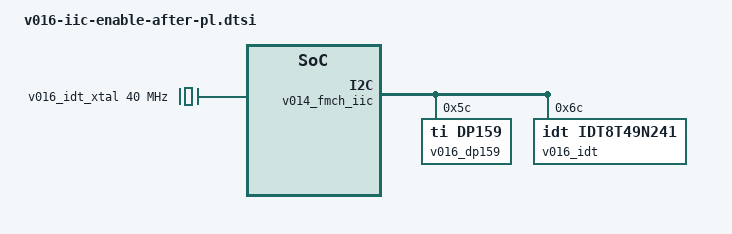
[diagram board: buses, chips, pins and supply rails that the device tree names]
/* Include after v016-hdmi-audited.dtsi ONLY when this exact PL bitstream
 * is loaded before kernel probing. AXI access to absent PL can hang the CPU.
 * Do not use this in a boot where XRT loads the PL later.
 * IDT uses the actual linux-xlnx 2022.2 driver binding, not the newer upstream
 * renesas,8t49n241 binding. Provider probe is not a complete HDMI modeset.
 */
/ {
    v016_idt_xtal: hdmi-idt-xtal {
        compatible = "fixed-clock";
        #clock-cells = <0>;
        clock-frequency = <40000000>;
    };
};
&v014_fmch_iic {
    status = "okay";
    v016_dp159: retimer@5c {
        compatible = "ti,dp159";
        reg = <0x5c>;
        #clock-cells = <0>;
    };
    v016_idt: clock-generator@6c {
        compatible = "idt,idt8t49n241";
        reg = <0x6c>;
        #clock-cells = <1>;
        clocks = <&v016_idt_xtal>;
        clock-names = "input-xtal";
        /* No arbitrary settings blob or assigned output rate. Verify board
         * reset, initial register map and TX Q2/Q3 routing before modeset. */
    };
};
